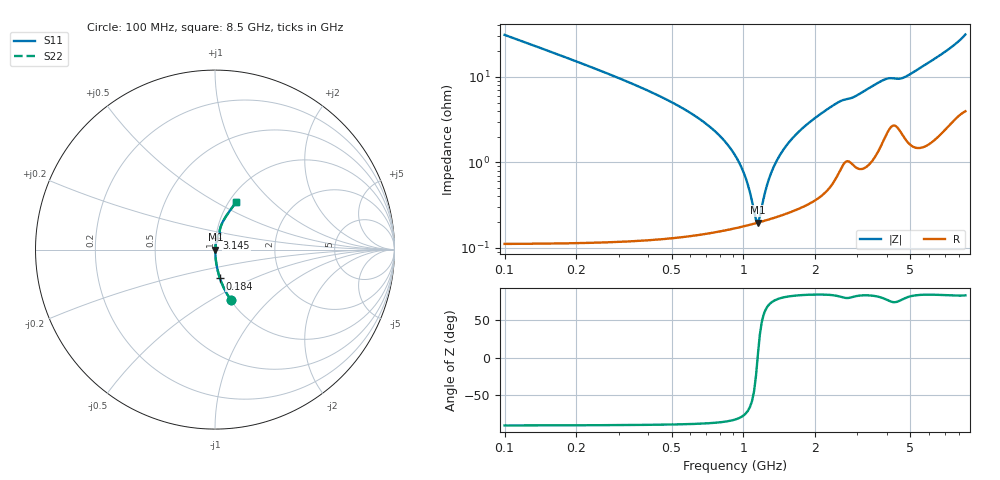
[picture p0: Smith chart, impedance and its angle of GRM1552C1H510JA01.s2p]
!Murata Part Number: GRM1552C1H510JA01
!These Parameters are Measured in Series Mode Connection
!Data Generated on Mar 30, 2021
!  o--ll--o
!Port1  Port2
!  o------o
!Operation Temp=25[degC], DC Bias Voltage=0[V]
!Freq. Start=100[MHz] Stop=9[GHz] 401[Steps]
# Hz S RI R 50
!Freq.(Hz) S11(Real) S11(Imag) S21(Real) S21(Imag) S12(Real) S12(Imag) S22(Real) S22(Imag)
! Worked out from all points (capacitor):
!   401 points, 100 MHz to 8.5 GHz, reference 50 ohm
!   read as one part in series: C = 51 pF near 142 MHz
!   lowest |Z| = 197 mohm at 1.15 GHz (marker M1)
!   series resonance near 1.147 GHz, so ESL is about 380 pH
!   S11 on the Smith chart (normalised r, x): 100 MHz: 1.00, -0.62; 184 MHz: 1.00, -0.33; 3.145 GHz: 1.02, +0.13; 8.5 GHz: 1.08, +0.62
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1e8  0.0884 -0.282  0.9116 0.282  0.9116 0.282  0.0884 -0.282
1.84e8  0.0276 -0.1605  0.9724 0.1605  0.9724 0.1605  0.0276 -0.1605
3.52e8  0.00758 -0.0796  0.9924 0.0796  0.9924 0.0796  0.00758 -0.0796
8.77e8  0.00185 -0.0147  0.9981 0.0147  0.9981 0.0147  0.00185 -0.0147
9.82e8  0.00182 -0.00846  0.9982 0.00846  0.9982 0.00846  0.00182 -0.00846
1.045e9  0.00185 -0.00506  0.9981 0.00506  0.9981 0.00506  0.00185 -0.00506
1.108e9  0.00191 -0.00187  0.9981 0.00187  0.9981 0.00187  0.00191 -0.00187
1.15e9  0.00196 0.000161  0.998 -0.000161  0.998 -0.000161  0.00196 0.000161
1.171e9  0.00199 0.00115  0.998 -0.00115  0.998 -0.00115  0.00199 0.00115
1.255e9  0.00213 0.00494  0.9979 -0.00494  0.9979 -0.00494  0.00213 0.00494
1.318e9  0.00225 0.00764  0.9977 -0.00764  0.9977 -0.00764  0.00225 0.00764
1.507e9  0.00272 0.0152  0.9973 -0.0152  0.9973 -0.0152  0.00272 0.0152
1.759e9  0.00355 0.0244  0.9964 -0.0244  0.9964 -0.0244  0.00355 0.0244
2.095e9  0.00522 0.0359  0.9948 -0.0359  0.9948 -0.0359  0.00522 0.0359
2.515e9  0.01 0.0495  0.99 -0.0495  0.99 -0.0495  0.01 0.0495
2.914e9  0.0122 0.0566  0.9878 -0.0566  0.9878 -0.0566  0.0122 0.0566
3.145e9  0.0125 0.0642  0.9875 -0.0642  0.9875 -0.0642  0.0125 0.0642
3.859e9  0.0252 0.0863  0.9748 -0.0863  0.9748 -0.0863  0.0252 0.0863
4.3e9  0.0339 0.0863  0.9661 -0.0863  0.9661 -0.0863  0.0339 0.0863
5.707e9  0.032 0.1287  0.968 -0.1287  0.968 -0.1287  0.032 0.1287
7.114e9  0.0612 0.1851  0.9388 -0.1851  0.9388 -0.1851  0.0612 0.1851
8.5e9  0.1169 0.2639  0.8831 -0.2639  0.8831 -0.2639  0.1169 0.2639
